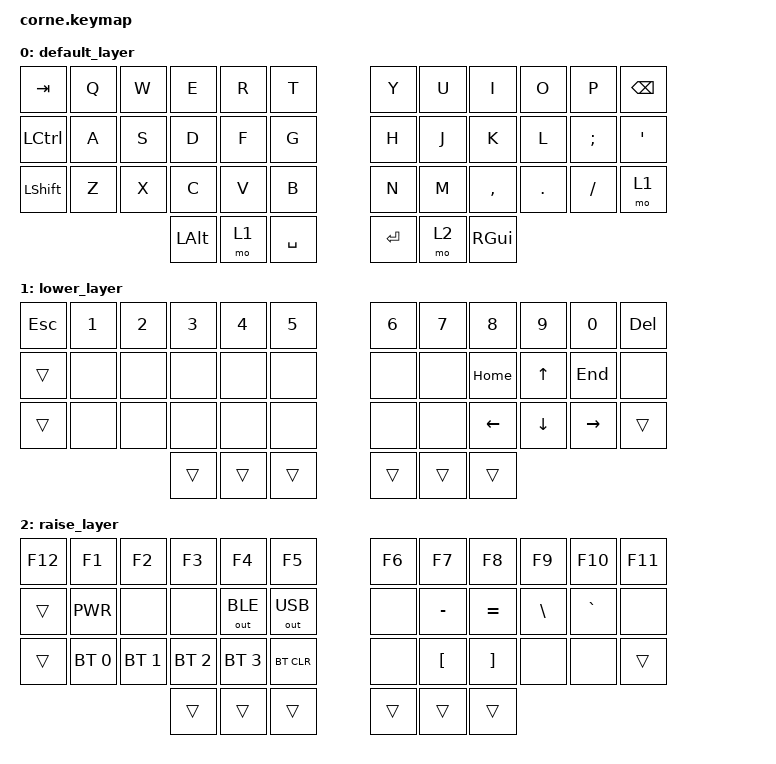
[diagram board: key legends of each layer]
/*
 * Copyright (c) 2020 The ZMK Contributors
 *
 * SPDX-License-Identifier: MIT
 */

#include <behaviors.dtsi>
#include <dt-bindings/zmk/bt.h>
#include <dt-bindings/zmk/keys.h>
#include <dt-bindings/zmk/outputs.h>

// Features
// - Modifiers are universal and none of the other keys pass through.
// - Ctrl/Tab are swapped like HHKB.
// - One handed access to most common keys.
// - Numbers and function keys have the same numbers.
// - Arrow keys mapped similarly to HHKB with pinky on Fn (LWR).

/ {
        keymap {
                compatible = "zmk,keymap";

                default_layer {
// --------------------------------------------------------------------------
// | TAB |  Q  |  W  |  E  |  R  |  T  ||  Y  |  U  |  I  |  O  |  P  | BSP |
// | CRL |  A  |  S  |  D  |  F  |  G  ||  H  |  J  |  K  |  L  |  ;  |  '  |
// | SHT |  Z  |  X  |  C  |  V  |  B  ||  N  |  M  |  ,  |  .  |  /  | LWR |
//                   | ALT | LWR | SPC || ENT | RSE | GUI |

                        bindings = <
&kp TAB   &kp Q &kp W &kp E    &kp R &kp T      &kp Y   &kp U &kp I     &kp O   &kp P    &kp BSPC
&kp LCTRL &kp A &kp S &kp D    &kp F &kp G      &kp H   &kp J &kp K     &kp L   &kp SEMI &kp SQT
&kp LSHFT &kp Z &kp X &kp C    &kp V &kp B      &kp N   &kp M &kp COMMA &kp DOT &kp FSLH &mo 1
                      &kp LALT &mo 1 &kp SPACE  &kp RET &mo 2 &kp RGUI
                        >;
                };

                lower_layer {
// --------------------------------------------------------------------------
// | ESC |  1  |  2  |  3  |  4  |  5  ||  6  |  7  |  8  |  9  |  0  | DEL |
// |  v  |     |     |     |     |     ||     |     | HME | UP  | END |     |
// |  v  |     |     |     |     |     ||     |     | LFT | DWN | RGT |  v  |
//                   |  v  |  v  |  v  ||  v  |  v  |  v  |

                        bindings = <
&kp ESC &kp N1 &kp N2 &kp N3 &kp N4 &kp N5  &kp N6 &kp N7 &kp N8   &kp N9   &kp N0    &kp DEL
&trans  &none  &none  &none  &none  &none   &none  &none  &kp HOME &kp UP   &kp END   &none
&trans  &none  &none  &none  &none  &none   &none  &none  &kp LEFT &kp DOWN &kp RIGHT &trans
                      &trans &trans &trans  &trans &trans &trans
                        >;
                };

                raise_layer {
// --------------------------------------------------------------------------
// | F12 | F1  | F2  | F3  | F4  | F5  || F6  | F7  | F8  | F9  | F10 | F11 |
// |  v  | PWR |     |     | BLE | USB ||     |  -  |  =  |  \  |  `  |     |
// |  v  | BT0 | BT1 | BT3 | BT4 | BTC ||     |  [  |  ]  |     |     |  v  |
//                   |  v  |  v  |  v  ||  v  |  v  |  v  |

                        bindings = <
&kp F12 &kp F1       &kp F2       &kp F3       &kp F4       &kp F5        &kp F6 &kp F7    &kp F8    &kp F9   &kp F10   &kp F11
&trans  &kp K_PWR    &none        &none        &out OUT_BLE &out OUT_USB  &none  &kp MINUS &kp EQUAL &kp BSLH &kp GRAVE &none
&trans  &bt BT_SEL 0 &bt BT_SEL 1 &bt BT_SEL 2 &bt BT_SEL 3 &bt BT_CLR    &none  &kp LBKT  &kp RBKT  &none    &none     &trans
                                  &trans       &trans       &trans        &trans &trans    &trans
                        >;
                };
        };
};
